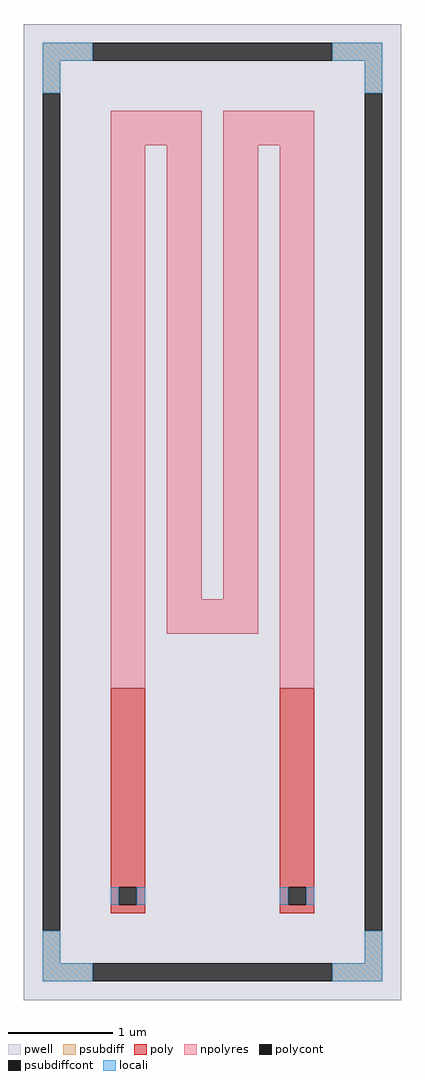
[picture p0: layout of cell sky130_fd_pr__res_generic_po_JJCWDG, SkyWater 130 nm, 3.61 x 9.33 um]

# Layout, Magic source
magic
tech sky130A
magscale 1 2
<< pwell >>
rect -361 -933 361 933
<< psubdiff >>
rect -325 863 -229 897
rect 229 863 325 897
rect -325 801 -291 863
rect 291 801 325 863
rect -325 -863 -291 -801
rect 291 -863 325 -801
rect -325 -897 -229 -863
rect 229 -897 325 -863
<< psubdiffcont >>
rect -229 863 229 897
rect -325 -801 -291 801
rect 291 -801 325 801
rect -229 -897 229 -863
<< poly >>
rect -195 -717 -129 -337
rect -195 -751 -179 -717
rect -145 -751 -129 -717
rect -195 -767 -129 -751
rect 129 -717 195 -337
rect 129 -751 145 -717
rect 179 -751 195 -717
rect 129 -767 195 -751
<< polycont >>
rect -179 -751 -145 -717
rect 145 -751 179 -717
<< npolyres >>
rect -195 701 -21 767
rect -195 -337 -129 701
rect -87 -167 -21 701
rect 21 701 195 767
rect 21 -167 87 701
rect -87 -233 87 -167
rect 129 -337 195 701
<< locali >>
rect -325 863 -229 897
rect 229 863 325 897
rect -325 801 -291 863
rect 291 801 325 863
rect -195 -751 -179 -717
rect -145 -751 -129 -717
rect 129 -751 145 -717
rect 179 -751 195 -717
rect -325 -863 -291 -801
rect 291 -863 325 -801
rect -325 -897 -229 -863
rect 229 -897 325 -863
<< properties >>
string FIXED_BBOX -308 -880 308 880
string gencell sky130_fd_pr__res_generic_po
string library sky130
string parameters w 0.33 l 5.0 m 1 nx 4 wmin 0.330 lmin 1.650 rho 48.2 val 3.241k dummy 0 dw 0.0 term 0.0 sterm 0.0 caplen 0.4 snake 1 guard 1 glc 1 grc 1 gtc 1 gbc 1 roverlap 0 endcov 100 full_metal 1 hv_guard 0 n_guard 0 vias 1 viagb 0 viagt 0 viagl 0 viagr 0
<< end >>
